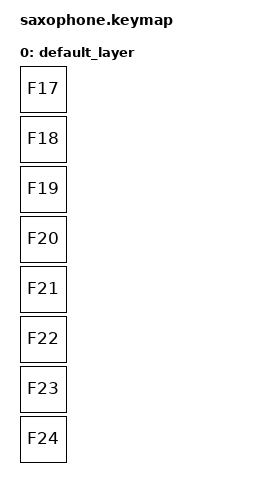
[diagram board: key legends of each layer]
/*
 * Copyright (c) 2022 The ZMK Contributors
 *
 * SPDX-License-Identifier: MIT
 */

#include <behaviors.dtsi>
#include <dt-bindings/zmk/keys.h>
#include <dt-bindings/zmk/bt.h>

/ {
    keymap {
        compatible = "zmk,keymap";

        default_layer {
            bindings = <
                &kp F17
                &kp F18
                &kp F19
                &kp F20
                &kp F21
                &kp F22
                &kp F23
                &kp F24
            >;
        };
    };
};
